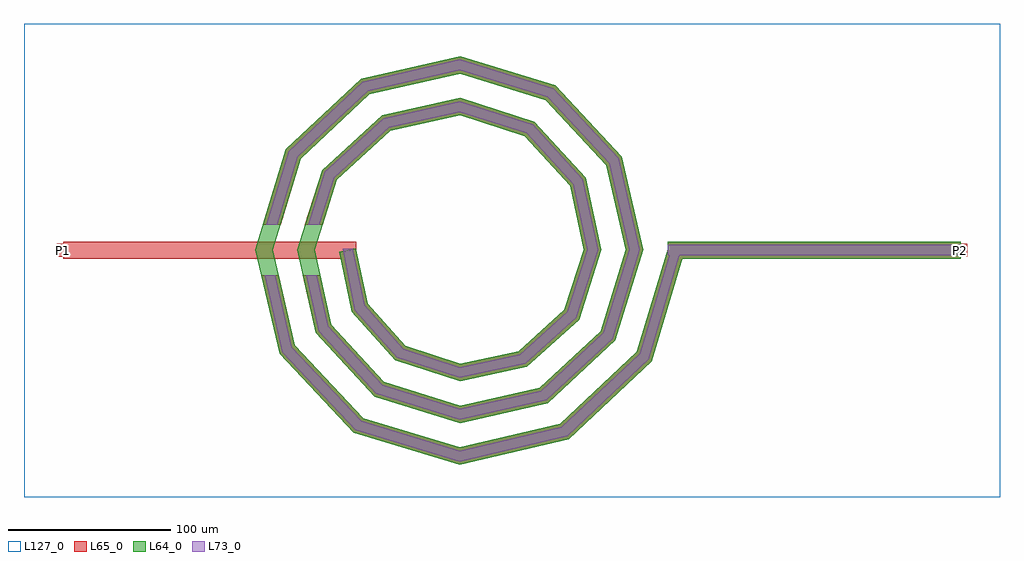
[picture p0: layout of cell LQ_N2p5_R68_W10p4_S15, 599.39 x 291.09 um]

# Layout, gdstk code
import gdstk
lib = gdstk.Library(unit=1e-6, precision=1e-09)
def R(c, l, rs):  # rectangles x0, y0, x1, y1
    for r in rs: c.add(gdstk.rectangle(r[:2], r[2:], *l))
def P(c, l, *ps):  # polygons
    for p in ps: c.add(gdstk.Polygon(p, *l))
L64_0 = (64, 0)
L65_0 = (65, 0)
L73_0 = (73, 0)
L127_0 = (127, 0)

lq_n2p5_r68_w10p4_s15 = lib.new_cell('LQ_N2p5_R68_W10p4_S15')
R(lq_n2p5_r68_w10p4_s15, L64_0, [(127.811,-5.2,307.811,5.2)])
P(lq_n2p5_r68_w10p4_s15, L64_0, [(-56.613,-33.035),(-33.589,-58.765),(0.286,-69.827),(36.225,-62.187),(64.315,-36.82),(76.249,0.263),(67.759,39.417),(40.049,69.867),(0.244,82.671),(-42.612,73.33),(-75.42,43.275),(-89.094,0.228),(-78.9,-45.81),(-46.499,-80.974),(0.213,-95.516),(49.009,-84.469),(86.53,-49.722),(101.939,0.2),(90.037,52.21),(52.943,92.086),(0.189,108.361),(-55.412,95.605),(-97.643,56.164),(-114.784,0.179),(-101.172,-58.615),(-59.383,-103.2),(0.17,-121.207),(61.818,-106.739),(108.758,-62.602),(128.031,1.497),(137.991,-1.497),(117.915,-68.268),(66.91,-116.226),(0.17,-131.969),(-65.064,-112.348),(-110.668,-63.691),(-125.546,0.179),(-106.781,61.86),(-60.471,105.11),(0.189,119.122),(58.658,101.213),(99.553,57.25),(112.699,0.2),(95.644,-55.456),(54.028,-93.996),(0.213,-106.276),(-52.256,-90.074),(-88.44,-50.804),(-99.852,0.228),(-84.504,49.057),(-47.579,82.885),(0.244,93.429),(45.86,78.932),(77.331,44.351),(87.005,0.263),(73.359,-42.666),(41.121,-71.779),(0.286,-80.581),(-39.475,-67.784),(-66.228,-37.887),(-73.873,-1.057),(-63.69,1.057)])
R(lq_n2p5_r68_w10p4_s15, L65_0, [(-243.581,-5.2,-63.581,5.2), (127.811,-5.2,307.811,5.2), (-247.581,-4,-239.581,4), (303.811,-4,311.811,4)])
P(lq_n2p5_r68_w10p4_s15, L65_0, [(-101.172,-58.615),(-59.383,-103.2),(0.17,-121.207),(61.818,-106.739),(108.758,-62.602),(128.031,1.497),(137.991,-1.497),(117.915,-68.268),(66.91,-116.226),(0.17,-131.969),(-65.064,-112.348),(-110.668,-63.691),(-121.87,-15.6),(-111.192,-15.6)],
  [(-78.9,-45.81),(-46.499,-80.974),(0.213,-95.516),(49.009,-84.469),(86.53,-49.722),(101.939,0.2),(90.037,52.21),(52.943,92.086),(0.189,108.361),(-55.412,95.605),(-97.643,56.164),(-109.984,15.6),(-120.854,15.6),(-106.781,61.86),(-60.471,105.11),(0.189,119.123),(58.658,101.213),(99.553,57.25),(112.699,0.2),(95.644,-55.456),(54.028,-93.996),(0.213,-106.276),(-52.256,-90.074),(-88.44,-50.804),(-96.313,-15.6),(-85.656,-15.6)],
  [(-33.589,-58.765),(0.286,-69.827),(36.225,-62.187),(64.315,-36.82),(76.249,0.263),(67.759,39.417),(40.049,69.867),(0.244,82.671),(-42.612,73.33),(-75.42,43.275),(-84.119,15.6),(-95.02,15.6),(-84.504,49.057),(-47.579,82.885),(0.244,93.429),(45.86,78.932),(77.331,44.351),(87.005,0.263),(73.359,-42.666),(41.121,-71.779),(0.286,-80.581),(-39.475,-67.784),(-66.228,-37.887),(-73.873,-1.057),(-63.69,1.057),(-56.613,-33.035)])
R(lq_n2p5_r68_w10p4_s15, L73_0, [(127.811,-3.2,307.811,3.2)])
P(lq_n2p5_r68_w10p4_s15, L73_0, [(-102.998,-59.591),(-60.476,-104.96),(0.105,-123.276),(62.798,-108.563),(110.519,-63.692),(129.946,0.921),(136.075,0.921),(116.154,-67.178),(65.931,-114.402),(0.105,-129.899),(-63.971,-110.589),(-108.842,-62.715),(-119.817,-15.6),(-113.245,-15.6)],
  [(-80.735,-46.77),(-47.606,-82.724),(0.131,-97.585),(49.974,-86.301),(88.282,-50.825),(104.008,0.123),(91.867,53.179),(54.042,93.841),(0.116,110.431),(-56.385,97.433),(-99.4,57.259),(-112.074,15.6),(-118.764,15.6),(-105.023,60.765),(-59.498,103.282),(0.116,117.053),(57.559,99.457),(97.723,56.281),(110.63,0.123),(93.891,-54.353),(53.063,-92.164),(0.131,-104.207),(-51.149,-88.324),(-86.606,-49.844),(-94.264,-15.6),(-87.705,-15.6)],
  [(-34.721,-60.5),(0.176,-71.895),(37.166,-64.032),(66.054,-37.944),(78.318,0.162),(69.6,40.366),(41.166,71.61),(0.15,84.74),(-43.568,75.168),(-77.167,44.387),(-86.215,15.6),(-92.924,15.6),(-82.757,47.945),(-46.624,81.048),(0.15,91.36),(44.743,77.189),(75.491,43.402),(84.937,0.162),(71.62,-41.542),(40.179,-69.934),(0.176,-78.513),(-38.343,-66.05),(-64.379,-36.954),(-71.914,0.65),(-65.648,0.65),(-58.462,-33.968)])
R(lq_n2p5_r68_w10p4_s15, L127_0, [(-267.581,-151.969,331.811,139.123)])
lq_n2p5_r68_w10p4_s15.add(gdstk.Label('P2', (307.811,0), layer=65, texttype=0))
lq_n2p5_r68_w10p4_s15.add(gdstk.Label('P1', (-243.581,0), layer=65, texttype=0))
lq_n2p5_r68_w10p4_s15.add(gdstk.Label('P2', (311.811,0), layer=145, texttype=0))
lq_n2p5_r68_w10p4_s15.add(gdstk.Label('P1', (-247.581,0), layer=145, texttype=0))

lib.write_gds('LQ_N2p5_R68_W10p4_S15.gds')
